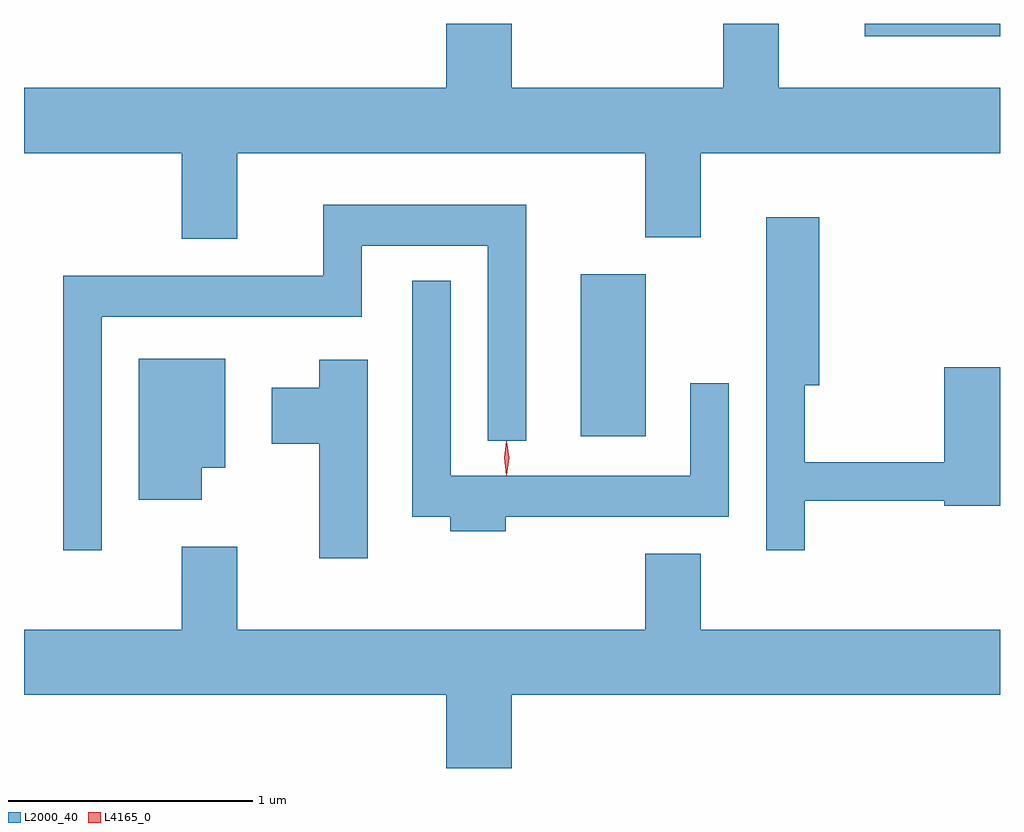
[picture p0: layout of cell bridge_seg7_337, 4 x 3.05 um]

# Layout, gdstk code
import gdstk
lib = gdstk.Library(unit=1e-6, precision=1e-09)
def R(c, l, rs):  # rectangles x0, y0, x1, y1
    for r in rs: c.add(gdstk.rectangle(r[:2], r[2:], *l))
def P(c, l, *ps):  # polygons
    for p in ps: c.add(gdstk.Polygon(p, *l))
L2000_40 = (2000, 40)
L4165_0 = (4165, 0)

bridge_seg7_337 = lib.new_cell('bridge_seg7_337')
R(bridge_seg7_337, L2000_40, [(1194.646,1775.316,1194.914,1775.979), (1195.811,1776.956,1196.365,1777.006)])
P(bridge_seg7_337, L2000_40, [(1193.239,1776.476),(1194.911,1776.476),(1194.911,1776.131),(1195.139,1776.131),(1195.139,1776.476),(1196.365,1776.476),(1196.365,1776.744),(1195.459,1776.744),(1195.459,1777.006),(1195.231,1777.006),(1195.231,1776.744),(1194.364,1776.744),(1194.364,1777.006),(1194.096,1777.006),(1194.096,1776.744),(1192.365,1776.744),(1192.365,1776.476),(1193.011,1776.476),(1193.011,1776.126),(1193.239,1776.126)],
  [(1192.684,1775.806),(1193.749,1775.806),(1193.749,1776.096),(1194.266,1776.096),(1194.266,1775.298),(1194.424,1775.298),(1194.424,1776.264),(1193.591,1776.264),(1193.591,1775.974),(1192.526,1775.974),(1192.526,1774.848),(1192.684,1774.848)],
  [(1195.564,1775.051),(1196.136,1775.051),(1196.136,1775.031),(1196.365,1775.031),(1196.365,1775.599),(1196.136,1775.599),(1196.136,1775.209),(1195.564,1775.209),(1195.564,1775.526),(1195.624,1775.526),(1195.624,1776.214),(1195.406,1776.214),(1195.406,1774.848),(1195.564,1774.848)],
  [(1194.339,1774.986),(1195.254,1774.986),(1195.254,1775.533),(1195.096,1775.533),(1195.096,1775.154),(1194.114,1775.154),(1194.114,1775.953),(1193.956,1775.953),(1193.956,1774.986),(1194.111,1774.986),(1194.111,1774.926),(1194.339,1774.926)],
  [(1193.094,1775.186),(1193.189,1775.186),(1193.189,1775.634),(1192.836,1775.634),(1192.836,1775.056),(1193.094,1775.056)],
  [(1193.774,1775.629),(1193.576,1775.629),(1193.576,1775.514),(1193.381,1775.514),(1193.381,1775.286),(1193.576,1775.286),(1193.576,1774.816),(1193.774,1774.816)],
  [(1196.365,1774.524),(1195.139,1774.524),(1195.139,1774.834),(1194.911,1774.834),(1194.911,1774.524),(1193.239,1774.524),(1193.239,1774.864),(1193.011,1774.864),(1193.011,1774.524),(1192.365,1774.524),(1192.365,1774.256),(1194.096,1774.256),(1194.096,1773.956),(1194.364,1773.956),(1194.364,1774.256),(1196.365,1774.256)])
P(bridge_seg7_337, L4165_0, [(1194.342,1775.157),(1194.333,1775.227),(1194.342,1775.296),(1194.343,1775.296),(1194.343,1775.296),(1194.353,1775.227),(1194.343,1775.157),(1194.343,1775.157)])

lib.write_gds('bridge_seg7_337.gds')
